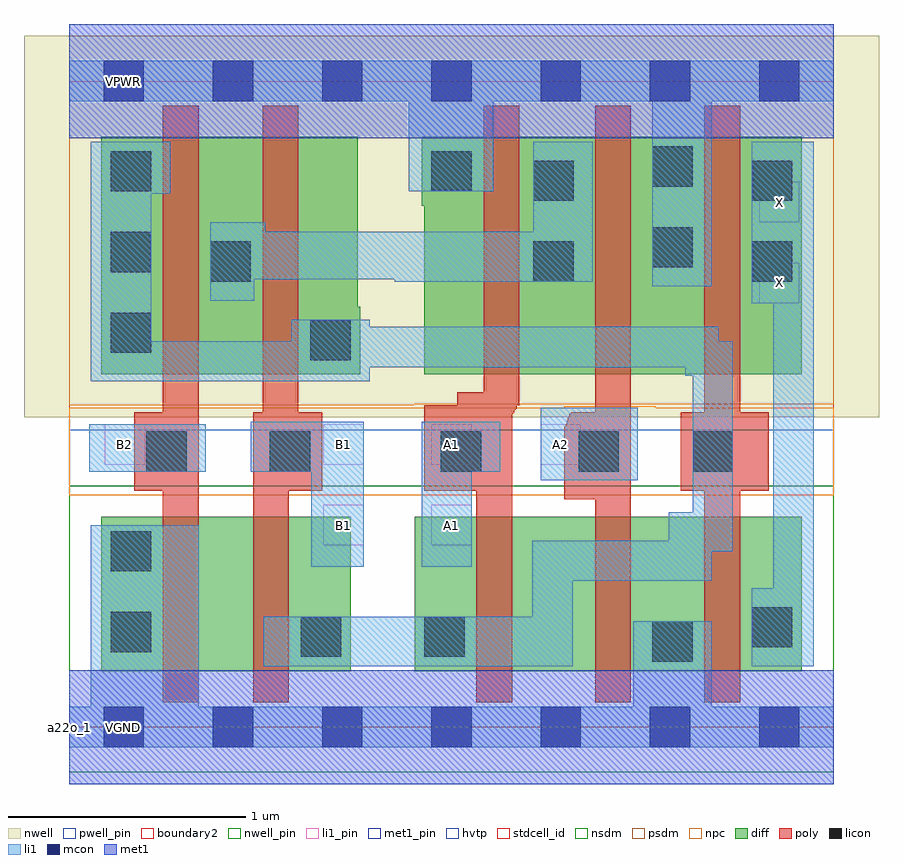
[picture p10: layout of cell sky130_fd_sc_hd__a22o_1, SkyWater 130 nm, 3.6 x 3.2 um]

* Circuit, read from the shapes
.subckt sky130_fd_sc_hd__a22o_1 A1 A2 B1 B2 VGND VNB VPB VPWR X
XM1 n1 B2 VGND VNB sky130_fd_pr__nfet_01v8 w=0.65 l=0.15
XM2 n2 B1 n1 VNB sky130_fd_pr__nfet_01v8 w=0.65 l=0.15
XM3 n3 A1 n2 VNB sky130_fd_pr__nfet_01v8 w=0.65 l=0.15
XM4 VGND A2 n3 VNB sky130_fd_pr__nfet_01v8 w=0.65 l=0.15
XM5 X n2 VGND VNB sky130_fd_pr__nfet_01v8 w=0.65 l=0.15
XM6 n4 B2 n2 VPB sky130_fd_pr__pfet_01v8_hvt w=1 l=0.15
XM7 n2 B1 n4 VPB sky130_fd_pr__pfet_01v8_hvt w=1 l=0.15
XM8 n4 A1 VPWR VPB sky130_fd_pr__pfet_01v8_hvt w=1 l=0.15
XM9 VPWR A2 n4 VPB sky130_fd_pr__pfet_01v8_hvt w=1 l=0.15
XM10 X n2 VPWR VPB sky130_fd_pr__pfet_01v8_hvt w=1 l=0.15
.ends

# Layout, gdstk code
import gdstk
lib = gdstk.Library(unit=1e-6, precision=1e-09)
def R(c, l, rs):  # rectangles x0, y0, x1, y1
    for r in rs: c.add(gdstk.rectangle(r[:2], r[2:], *l))
def A(c, l, x, y, w, h, nx, ny, dx, dy):  # array of equal rectangles
    R(c, l, [(x+i*dx, y+j*dy, x+i*dx+w, y+j*dy+h) for i in range(nx) for j in range(ny)])
def P(c, l, *ps):  # polygons
    for p in ps: c.add(gdstk.Polygon(p, *l))
nwell_pin = (64, 16)
nwell = (64, 20)
diff = (65, 20)
poly = (66, 20)
licon = (66, 44)
li1_pin = (67, 16)
li1 = (67, 20)
mcon = (67, 44)
met1_pin = (68, 16)
met1 = (68, 20)
hvtp = (78, 44)
stdcell_id = (81, 4)
nsdm = (93, 44)
psdm = (94, 20)
npc = (95, 20)
pwell_pin = (122, 16)
boundary2 = (236, 0)

sky130_fd_sc_hd__a22o_1 = lib.new_cell('sky130_fd_sc_hd__a22o_1')
R(sky130_fd_sc_hd__a22o_1, nwell_pin, [(0.145,2.635,0.315,2.805)])
R(sky130_fd_sc_hd__a22o_1, nwell, [(-0.19,1.305,3.41,2.91)])
R(sky130_fd_sc_hd__a22o_1, diff, [(0.135,0.235,1.185,0.885), (1.455,0.235,3.085,0.885)])
P(sky130_fd_sc_hd__a22o_1, diff, [(1.225,1.77),(1.215,1.77),(1.215,2.485),(0.135,2.485),(0.135,1.485),(1.225,1.485)],
  [(3.085,2.485),(1.485,2.485),(1.485,2.195),(1.495,2.195),(1.495,1.485),(3.085,1.485)])
P(sky130_fd_sc_hd__a22o_1, poly, [(0.545,2.615),(0.395,2.615),(0.395,1.325),(0.275,1.325),(0.275,0.995),(0.395,0.995),(0.395,0.105),(0.545,0.105)],
  [(1.065,1.325),(0.965,1.325),(0.965,2.615),(0.815,2.615),(0.815,1.325),(0.775,1.325),(0.775,0.105),(0.925,0.105),(0.925,0.995),(1.065,0.995)],
  [(1.895,2.615),(1.745,2.615),(1.745,1.41),(1.635,1.41),(1.635,1.355),(1.495,1.355),(1.495,0.995),(1.715,0.995),(1.715,0.105),(1.865,0.105),(1.865,1.32),(1.87,1.32),(1.87,1.325),(1.875,1.325),(1.875,1.335),(1.88,1.335),(1.88,1.34),(1.885,1.34),(1.885,1.355),(1.895,1.355)],
  [(2.365,2.615),(2.215,2.615),(2.215,1.325),(2.115,1.325),(2.115,1.32),(2.105,1.32),(2.105,1.305),(2.1,1.305),(2.1,1.29),(2.095,1.29),(2.095,1.275),(2.09,1.275),(2.09,1.265),(2.085,1.265),(2.085,0.96),(2.215,0.96),(2.215,0.105),(2.365,0.105)],
  [(2.945,1.325),(2.825,1.325),(2.825,2.615),(2.675,2.615),(2.675,1.325),(2.575,1.325),(2.575,0.995),(2.675,0.995),(2.675,0.105),(2.825,0.105),(2.825,0.995),(2.945,0.995)])
A(sky130_fd_sc_hd__a22o_1, licon, 0.175, 1.575, 0.17, 0.17, 1, 3, 0, 0.34)
R(sky130_fd_sc_hd__a22o_1, licon, [(2.455,0.275,2.625,0.445), (0.975,0.295,1.145,0.465), (1.495,0.295,1.665,0.465), (0.175,0.315,0.345,0.485), (2.875,0.335,3.045,0.505), (0.175,0.655,0.345,0.825), (0.325,1.075,0.495,1.245), (0.845,1.075,1.015,1.245), (1.565,1.075,1.735,1.245), (2.145,1.075,2.315,1.245), (2.625,1.075,2.795,1.245), (1.015,1.545,1.185,1.715), (0.595,1.875,0.765,2.045), (1.955,1.875,2.125,2.045), (2.875,1.875,3.045,2.045), (2.455,1.935,2.625,2.105), (1.955,2.215,2.125,2.385), (2.875,2.215,3.045,2.385), (1.525,2.255,1.695,2.425), (2.455,2.275,2.625,2.445)])
R(sky130_fd_sc_hd__a22o_1, li1_pin, [(1.07,0.765,1.24,0.935), (1.525,0.765,1.695,0.935), (0.15,1.105,0.32,1.275), (1.07,1.105,1.24,1.275), (1.525,1.105,1.695,1.275), (1.985,1.105,2.155,1.275), (2.905,1.785,3.075,1.955), (2.905,2.125,3.075,2.295)])
R(sky130_fd_sc_hd__a22o_1, li1, [(1.985,1.04,2.395,1.345), (0.085,1.075,0.575,1.275)])
P(sky130_fd_sc_hd__a22o_1, li1, [(1.24,1.285),(0.765,1.285),(0.765,1.075),(1.02,1.075),(1.02,0.675),(1.24,0.675)],
  [(1.815,1.285),(1.485,1.285),(1.485,0.675),(1.695,0.675),(1.695,1.075),(1.815,1.075)],
  [(2.205,2.465),(1.955,2.465),(1.955,2.085),(0.825,2.085),(0.825,2.125),(0.595,2.125),(0.595,1.795),(0.78,1.795),(0.78,1.885),(1.37,1.885),(1.37,1.875),(2.205,1.875)],
  [(2.795,1.625),(2.735,1.625),(2.735,1.685),(1.265,1.685),(1.265,1.715),(0.935,1.715),(0.935,1.625),(0.345,1.625),(0.345,2.245),(0.425,2.245),(0.425,2.465),(0.09,2.465),(0.09,1.455),(1.265,1.455),(1.265,1.515),(2.595,1.515),(2.595,1.48),(2.625,1.48),(2.625,0.905),(2.525,0.905),(2.525,0.785),(1.95,0.785),(1.95,0.465),(0.82,0.465),(0.82,0.255),(2.12,0.255),(2.12,0.615),(2.705,0.615),(2.705,0.74),(2.795,0.74)],
  [(3.135,2.465),(2.875,2.465),(2.875,1.785),(2.965,1.785),(2.965,0.585),(2.875,0.585),(2.875,0.255),(3.135,0.255)],
  [(3.22,2.805),(0,2.805),(0,2.635),(1.43,2.635),(1.43,2.255),(1.785,2.255),(1.785,2.635),(2.455,2.635),(2.455,1.855),(2.705,1.855),(2.705,2.635),(3.22,2.635)],
  [(3.22,0.085),(2.705,0.085),(2.705,0.445),(2.375,0.445),(2.375,0.085),(0.545,0.085),(0.545,0.85),(0.09,0.85),(0.09,0.085),(0,0.085),(0,-0.085),(3.22,-0.085)])
A(sky130_fd_sc_hd__a22o_1, mcon, 0.145, -0.085, 0.17, 0.17, 7, 2, 0.46, 2.72)
R(sky130_fd_sc_hd__a22o_1, met1_pin, [(0.145,-0.085,0.315,0.085), (0.145,2.635,0.315,2.805)])
R(sky130_fd_sc_hd__a22o_1, hvtp, [(0,1.25,3.22,2.72)])
R(sky130_fd_sc_hd__a22o_1, stdcell_id, [(0,0,3.22,2.72)])
R(sky130_fd_sc_hd__a22o_1, nsdm, [(0,-0.19,3.22,1.015)])
P(sky130_fd_sc_hd__a22o_1, psdm, [(3.22,2.91),(0,2.91),(0,1.355),(1.45,1.355),(1.45,1.36),(3.22,1.36)])
P(sky130_fd_sc_hd__a22o_1, npc, [(3.22,1.345),(2.47,1.345),(2.47,1.35),(2.085,1.35),(2.085,1.345),(0,1.345),(0,0.975),(3.22,0.975)])
R(sky130_fd_sc_hd__a22o_1, pwell_pin, [(0.145,-0.085,0.315,0.085)])
R(sky130_fd_sc_hd__a22o_1, boundary2, [(0,0,3.22,2.72)])
sky130_fd_sc_hd__a22o_1.add(gdstk.FlexPath([(0,2.72),(3.22,2.72)], 0.48, ends="flush", simple_path=True, layer=68, datatype=20))  # met1
sky130_fd_sc_hd__a22o_1.add(gdstk.FlexPath([(0,0),(3.22,0)], 0.48, ends="flush", simple_path=True, layer=68, datatype=20))  # met1
sky130_fd_sc_hd__a22o_1.add(gdstk.Label('A1', (1.61,1.19), layer=67, texttype=5))
sky130_fd_sc_hd__a22o_1.add(gdstk.Label('A2', (2.07,1.19), layer=67, texttype=5))
sky130_fd_sc_hd__a22o_1.add(gdstk.Label('X', (2.99,2.21), layer=67, texttype=5))
sky130_fd_sc_hd__a22o_1.add(gdstk.Label('B2', (0.235,1.19), layer=67, texttype=5))
sky130_fd_sc_hd__a22o_1.add(gdstk.Label('B1', (1.155,1.19), layer=67, texttype=5))
sky130_fd_sc_hd__a22o_1.add(gdstk.Label('A1', (1.61,0.85), layer=67, texttype=5))
sky130_fd_sc_hd__a22o_1.add(gdstk.Label('B1', (1.155,0.85), layer=67, texttype=5))
sky130_fd_sc_hd__a22o_1.add(gdstk.Label('X', (2.99,1.87), layer=67, texttype=5))
sky130_fd_sc_hd__a22o_1.add(gdstk.Label('VPWR', (0.23,2.72), layer=68, texttype=5))
sky130_fd_sc_hd__a22o_1.add(gdstk.Label('VGND', (0.23,0), layer=68, texttype=5))
sky130_fd_sc_hd__a22o_1.add(gdstk.Label('VPB', (0.23,2.72), layer=64, texttype=5))
sky130_fd_sc_hd__a22o_1.add(gdstk.Label('VNB', (0.23,0), layer=64, texttype=59))
sky130_fd_sc_hd__a22o_1.add(gdstk.Label('a22o_1', (0,0), layer=83, texttype=44))

lib.write_gds('sky130_fd_sc_hd__a22o_1.gds')
